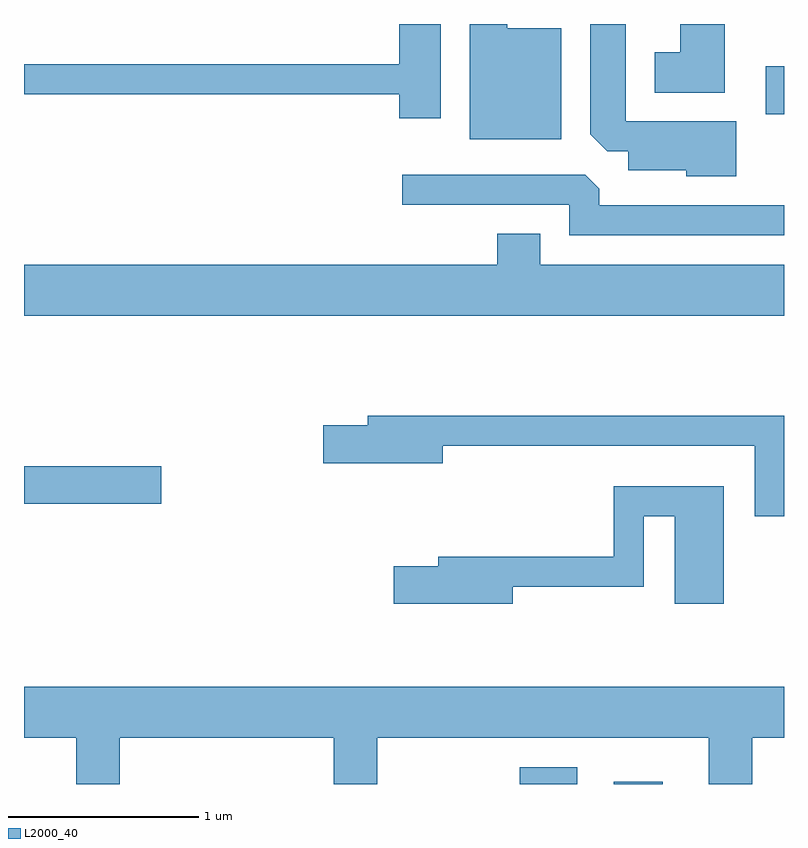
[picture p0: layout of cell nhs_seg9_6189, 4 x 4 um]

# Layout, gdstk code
import gdstk
lib = gdstk.Library(unit=1e-6, precision=1e-09)
def R(c, l, rs):  # rectangles x0, y0, x1, y1
    for r in rs: c.add(gdstk.rectangle(r[:2], r[2:], *l))
def P(c, l, *ps):  # polygons
    for p in ps: c.add(gdstk.Polygon(p, *l))
L2000_40 = (2000, 40)

nhs_seg9_6189 = lib.new_cell('nhs_seg9_6189')
R(nhs_seg9_6189, L2000_40, [(370.221,2020.432,370.524,2020.519), (370.716,2020.432,370.974,2020.444), (367.611,2021.906,368.334,2022.104), (371.516,2023.956,371.611,2024.209)])
P(nhs_seg9_6189, L2000_40, [(371.299,2024.432),(371.066,2024.432),(371.066,2024.284),(370.931,2024.284),(370.931,2024.071),(371.299,2024.071)],
  [(371.359,2023.919),(370.779,2023.919),(370.779,2024.432),(370.591,2024.432),(370.591,2023.852),(370.682,2023.761),(370.791,2023.761),(370.791,2023.661),(371.096,2023.661),(371.096,2023.631),(371.359,2023.631)],
  [(370.439,2024.409),(370.154,2024.409),(370.154,2024.432),(369.956,2024.432),(369.956,2023.826),(370.439,2023.826)],
  [(369.804,2024.432),(369.586,2024.432),(369.586,2024.219),(367.611,2024.219),(367.611,2024.061),(369.586,2024.061),(369.586,2023.936),(369.804,2023.936)],
  [(371.611,2023.479),(370.639,2023.479),(370.639,2023.564),(370.564,2023.639),(369.603,2023.639),(369.603,2023.481),(370.481,2023.481),(370.481,2023.321),(371.611,2023.321)],
  [(371.611,2023.164),(370.329,2023.164),(370.329,2023.329),(370.101,2023.329),(370.101,2023.164),(367.611,2023.164),(367.611,2022.896),(371.611,2022.896)],
  [(371.611,2022.369),(369.421,2022.369),(369.421,2022.319),(369.186,2022.319),(369.186,2022.121),(369.814,2022.121),(369.814,2022.211),(371.456,2022.211),(371.456,2021.841),(371.611,2021.841)],
  [(370.184,2021.471),(370.874,2021.471),(370.874,2021.841),(371.036,2021.841),(371.036,2021.381),(371.294,2021.381),(371.294,2021.999),(370.716,2021.999),(370.716,2021.629),(369.791,2021.629),(369.791,2021.579),(369.556,2021.579),(369.556,2021.381),(370.184,2021.381)],
  [(368.114,2020.676),(369.241,2020.676),(369.241,2020.432),(369.469,2020.432),(369.469,2020.676),(371.216,2020.676),(371.216,2020.432),(371.444,2020.432),(371.444,2020.676),(371.611,2020.676),(371.611,2020.944),(367.611,2020.944),(367.611,2020.676),(367.886,2020.676),(367.886,2020.432),(368.114,2020.432)])

lib.write_gds('nhs_seg9_6189.gds')
